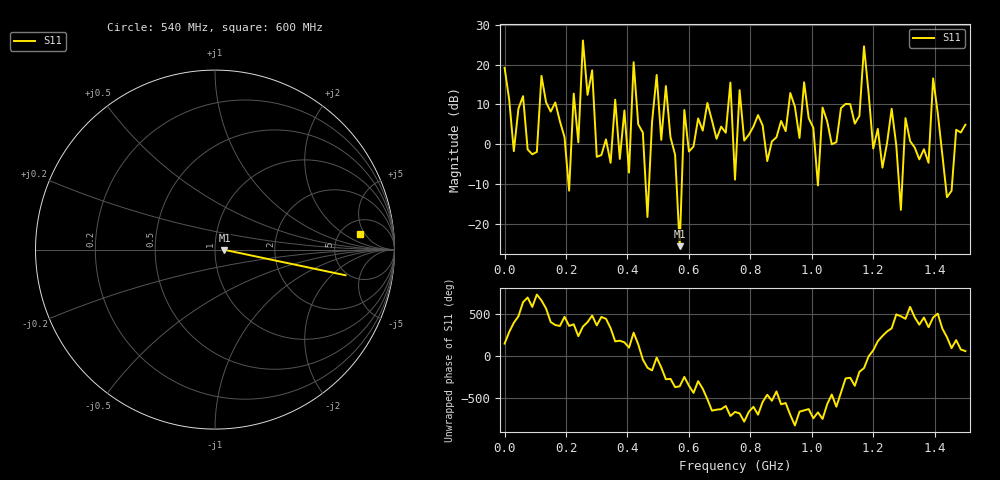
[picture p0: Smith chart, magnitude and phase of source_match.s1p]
! Created with skrf 1.8.0 (http://scikit-rf.org).
# Hz S RI R 50.0
!freq ReS11 ImS11
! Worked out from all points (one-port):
!   101 points, 50 kHz to 1.5 GHz, reference 50 ohm
!   lowest |S11| = -25.6 dB at 570 MHz (marker M1), VSWR 1.11, Z = 55.6 - j0.15 ohm
!   |S11| at or under -10 dB: 208.2 MHz to 211 MHz (2.82 MHz wide, 1.34 % of centre); 459.2 MHz to 470.2 MHz (11.02 MHz wide, 2.37 % of centre); 1.435 GHz to 1.457 GHz (21.25 MHz wide, 1.47 % of centre) (the widest 3 of 6)
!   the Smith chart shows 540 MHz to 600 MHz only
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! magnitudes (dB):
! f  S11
! 50 kHz  19.2
! 30.05 MHz  -1.7
! 120 MHz  17.2
! 195 MHz  1.8
! 240 MHz  0.5
! 255 MHz  26.1
! 300 MHz  -3.2
! 375 MHz  -3.7
! 405 MHz  -7.1
! 420 MHz  20.6
! 465 MHz  -18.2
! 495 MHz  17.4
! 525 MHz  14.6
! 570 MHz  -25.6
! 585 MHz  8.6
! 735 MHz  15.5
! 750 MHz  -8.9
! 765 MHz  13.6
! 945 MHz  9.4
! 1.02 GHz  -10.3
! 1.125 GHz  10.1
! 1.17 GHz  24.6
! 1.29 GHz  -16.5
! 1.32 GHz  0.8
! 1.38 GHz  -4.6
! 1.395 GHz  16.5
! 1.44 GHz  -13.3
! 1.5 GHz  4.9
